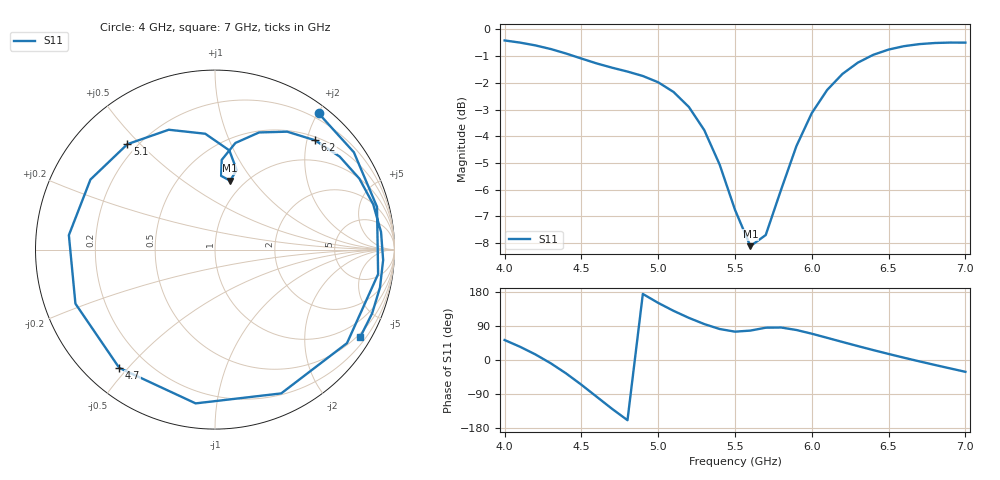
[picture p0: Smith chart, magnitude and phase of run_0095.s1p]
! Touchstone file exported from HFSS 2024.2.0
!  File:  C:/Users/wsak9/Desktop/Sim Fast/Widenad Patch/WP_AI_V1_sweep.aedt
!  Generated:  06:52:35 PM Oct 13, 2026
!  Design:  A1_model
!  Project:  WP_AI_V1_sweep
!  Setup:  Setup1
!  Solution:  Sweep
! Variables:
!  Air_gap = 4.31mm
!  Curve_Amp1 = 1.04
!  Curve_len1 = 1
!  Curve_pos = 10.59mm
!  Extra = 4.48mm
!  H_sub = 0.79mm
!  L_Patch = 17.18mm
!  L_Patch1 = 13.8mm
!  Sx = 2.23mm
!  Sy = 4.89mm
!  WS = 0.24mm
!  W_Patch = 15.93mm
!  W_Patch1 = 9.32mm
!Data is not renormalized
# GHz S MA
! Terminal data exported
! Port[1] = 1
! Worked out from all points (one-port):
!   31 points, 4 GHz to 7 GHz, reference per port
!   lowest |S11| = -8.1 dB at 5.6 GHz (marker M1), VSWR 2.29
!   |S11| at or under -10 dB: nowhere
!   S11 on the Smith chart (normalised r, x): 4 GHz: 0.12, +2.01; 4.7 GHz: 0.10, -0.47; 5.1 GHz: 0.16, +0.46; 6.2 GHz: 0.56, +2.15; 7 GHz: 0.39, -3.54
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4  0.9535 52.7
4.1  0.9448 35.0
4.2  0.9335 14.8
4.3  0.919 -8.5
4.4  0.9014 -35.3
4.5  0.882 -65.3
4.6  0.8636 -97.2
4.7  0.8479 -129.0
4.8  0.8339 -158.8
4.9  0.8181 174.3
5  0.7962 150.7
5.1  0.7637 129.7
5.2  0.7157 111.1
5.3  0.6478 94.8
5.4  0.5585 81.8
5.5  0.4596 74.8
5.6  0.3929 77.6
5.7  0.4122 85.2
5.8  0.5012 85.7
5.9  0.6049 79.2
6  0.6973 69.4
6.1  0.7704 58.5
6.2  0.8257 47.5
6.3  0.8667 36.7
6.5  0.9168 16.0
6.7  0.9386 -3.6
6.8  0.9431 -13.0
7  0.9446 -31.2
